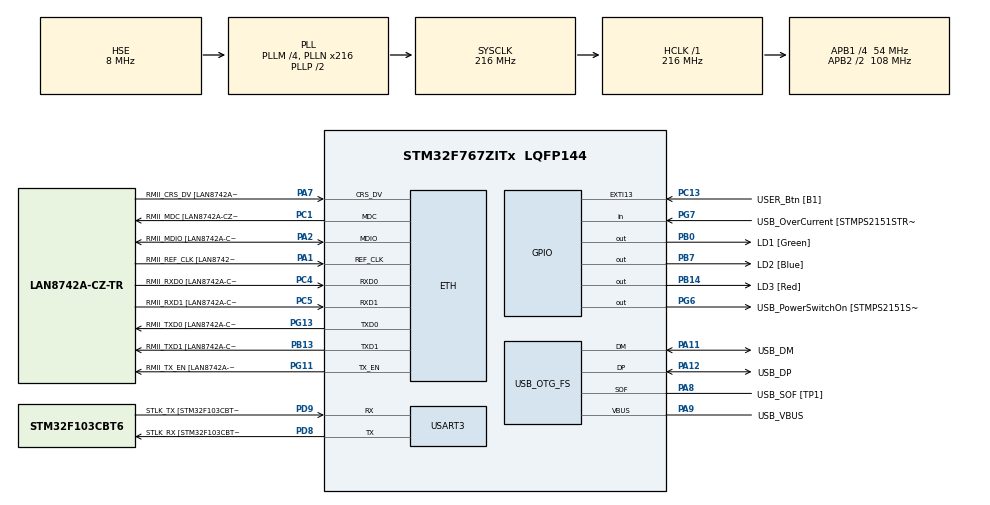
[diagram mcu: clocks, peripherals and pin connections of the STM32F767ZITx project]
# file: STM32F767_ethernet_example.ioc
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ETH.MediaInterface=HAL_ETH_RMII_MODE
ETH.PHY_Name=LAN8742A_PHY_ADDRESS
ETH.PHY_Value=0
ETH.PhyAddress=0
LWIP.BSP.number=1
LWIP.GATEWAY_ADDRESS=192.168.000.001
LWIP.IP_ADDRESS=192.168.000.155
LWIP.LWIP_DHCP=0
LWIP.NETMASK_ADDRESS=255.255.255.000
LWIP.Version=v2.1.2_Cube
LWIP0.BSP.STBoard=false
LWIP0.BSP.api=BSP_COMPONENT_DRIVER
LWIP0.BSP.component=LAN8742
LWIP0.BSP.instance=LAN8742
LWIP0.BSP.name=Driver_PHY
LWIP0.BSP.semaphore=S_LAN8742
LWIP0.BSP.solution=LAN8742
Mcu.Family=STM32F7
Mcu.Name=STM32F767ZITx
Mcu.Package=LQFP144
NVIC.PriorityGroup=NVIC_PRIORITYGROUP_4
NVIC.TIM2_IRQn=true\:0\:0\:false\:false\:true\:true\:true\:true
PA1.GPIO_Label=RMII_REF_CLK [LAN8742A-CZ-TR_REFCLK0]
PA1.Mode=RMII
PA1.Signal=ETH_REF_CLK
PA10.GPIO_Label=USB_ID
PA10.Signal=USB_OTG_FS_ID
PA11.GPIO_Label=USB_DM
PA11.Mode=Device_Only
PA11.Signal=USB_OTG_FS_DM
PA12.GPIO_Label=USB_DP
PA12.Mode=Device_Only
PA12.Signal=USB_OTG_FS_DP
PA13.GPIO_Label=TMS
PA13.Mode=Serial_Wire
PA13.Signal=SYS_JTMS-SWDIO
PA14.GPIO_Label=TCK
PA14.Mode=Serial_Wire
PA14.Signal=SYS_JTCK-SWCLK
PA2.GPIO_Label=RMII_MDIO [LAN8742A-CZ-TR_MDIO]
PA2.Mode=RMII
PA2.Signal=ETH_MDIO
PA7.GPIO_Label=RMII_CRS_DV [LAN8742A-CZ-TR_CRS_DV]
PA7.Mode=RMII
PA7.Signal=ETH_CRS_DV
PA8.GPIO_Label=USB_SOF [TP1]
PA8.Mode=Activate_SOF_FS
PA8.Signal=USB_OTG_FS_SOF
PA9.GPIO_Label=USB_VBUS
PA9.Mode=Activate_VBUS
PA9.Signal=USB_OTG_FS_VBUS
PB0.GPIO_Label=LD1 [Green]
PB0.Signal=GPIO_Output
PB13.GPIO_Label=RMII_TXD1 [LAN8742A-CZ-TR_TXD1]
PB13.Mode=RMII
PB13.Signal=ETH_TXD1
PB14.GPIO_Label=LD3 [Red]
PB14.Signal=GPIO_Output
PB3.GPIO_Label=SWO
PB3.Signal=SYS_JTDO-SWO
PB7.GPIO_Label=LD2 [Blue]
PB7.Signal=GPIO_Output
PC1.GPIO_Label=RMII_MDC [LAN8742A-CZ-TR_MDC]
PC1.Mode=RMII
PC1.Signal=ETH_MDC
PC13.GPIO_Label=USER_Btn [B1]
PC13.Signal=GPXTI13
PC14/OSC32_IN.Mode=LSE-External-Oscillator
PC14/OSC32_IN.Signal=RCC_OSC32_IN
PC15/OSC32_OUT.Mode=LSE-External-Oscillator
PC15/OSC32_OUT.Signal=RCC_OSC32_OUT
PC4.GPIO_Label=RMII_RXD0 [LAN8742A-CZ-TR_RXD0]
PC4.Mode=RMII
PC4.Signal=ETH_RXD0
PC5.GPIO_Label=RMII_RXD1 [LAN8742A-CZ-TR_RXD1]
PC5.Mode=RMII
PC5.Signal=ETH_RXD1
PD8.GPIO_Label=STLK_RX [STM32F103CBT6_PA3]
PD8.Mode=Asynchronous
PD8.Signal=USART3_TX
PD9.GPIO_Label=STLK_TX [STM32F103CBT6_PA2]
PD9.Mode=Asynchronous
PD9.Signal=USART3_RX
PG11.GPIO_Label=RMII_TX_EN [LAN8742A-CZ-TR_TXEN]
PG11.Mode=RMII
PG11.Signal=ETH_TX_EN
PG13.GPIO_Label=RMII_TXD0 [LAN8742A-CZ-TR_TXD0]
PG13.Mode=RMII
PG13.Signal=ETH_TXD0
PG6.GPIO_Label=USB_PowerSwitchOn [STMPS2151STR_EN]
PG6.Signal=GPIO_Output
PG7.GPIO_Label=USB_OverCurrent [STMPS2151STR_FAULT]
PG7.Signal=GPIO_Input
PH0/OSC_IN.GPIO_Label=MCO [STM32F103CBT6_PA8]
PH0/OSC_IN.Mode=HSE-External-Clock-Source
PH0/OSC_IN.Signal=RCC_OSC_IN
PH1/OSC_OUT.Mode=HSE-External-Clock-Source
PH1/OSC_OUT.Signal=RCC_OSC_OUT
ProjectManager.HeapSize=0x200
ProjectManager.StackSize=0x400
ProjectManager.TargetToolchain=STM32CubeIDE
RCC.48MHZClocksFreq_Value=24000000
RCC.AHBFreq_Value=216000000
RCC.APB1CLKDivider=RCC_HCLK_DIV4
RCC.APB1Freq_Value=54000000
RCC.APB1TimFreq_Value=108000000
RCC.APB2CLKDivider=RCC_HCLK_DIV2
RCC.APB2Freq_Value=108000000
RCC.APB2TimFreq_Value=216000000
RCC.CortexFreq_Value=216000000
RCC.HCLKFreq_Value=216000000
RCC.HSE_VALUE=8000000
RCC.HSI_VALUE=16000000
RCC.PLLM=4
RCC.PLLMUL=RCC_PLL_MUL9
RCC.PLLN=216
RCC.PLLQ=9
RCC.PRESCALERUSB=RCC_USBCLKSOURCE_PLL_DIV1_5
RCC.SYSCLKFreq_VALUE=216000000
RCC.SYSCLKSource=RCC_SYSCLKSOURCE_PLLCLK
RCC.SYSCLKSourceVirtual=RCC_SYSCLKSOURCE_PLLCLK
RCC.USBFreq_Value=48000000
RCC.VCOOutputFreq_Value=432000000
TIM2.Period=10000-1
TIM2.Prescaler=10400-1
USART3.VirtualMode-Asynchronous=VM_ASYNC
USB_OTG_FS.VirtualMode=Device_Only
VP_LWIP_VS_Enabled.Mode=Enabled
VP_TIM2_VS_ClockSourceINT.Mode=Internal
board=NUCLEO-F767ZI

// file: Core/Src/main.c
/* USER CODE BEGIN Header */
/**
  ******************************************************************************
  * @file           : main.c
  * @brief          : Main program body
  ******************************************************************************
  * @attention
  *
  * Copyright (c) 2024 STMicroelectronics.
  * All rights reserved.
  *
  * This software is licensed under terms that can be found in the LICENSE file
  * in the root directory of this software component.
  * If no LICENSE file comes with this software, it is provided AS-IS.
  *
  ******************************************************************************
  */
/* USER CODE END Header */
#include "main.h"
#include "lwip.h"

/* USER CODE BEGIN Includes */
//#define udpServerRAW
//#define udp_echo_server
//#define tcp_echo_server
//#define tcp_client_raw
#define udp_client_raw

#if defined udpServerRAW
#include "udpServerRAW.h"
#elif defined udp_echo_server
#include "udp_echoserver.h"
#elif defined tcp_echo_server
#include "tcp_echoserver.h"
#elif defined tcp_client_raw
#include "tcpClientRAW.h"
#elif defined udp_client_raw
#include "udpClientRAW.h"
#endif
/* USER CODE END Includes */

TIM_HandleTypeDef htim2;

UART_HandleTypeDef huart3;

PCD_HandleTypeDef hpcd_USB_OTG_FS;

/* USER CODE BEGIN PV */
extern struct netif gnetif;
/* USER CODE END PV */

void SystemClock_Config(void);
static void MX_GPIO_Init(void);
static void MX_USART3_UART_Init(void);
static void MX_USB_OTG_FS_PCD_Init(void);
static void MX_TIM2_Init(void);

/* USER CODE BEGIN 0 */
#ifdef __GNUC__
  /* With GCC, small printf (option LD Linker->Libraries->Small printf
     set to 'Yes') calls __io_putchar() */
  #define PUTCHAR_PROTOTYPE int __io_putchar(int ch)
#else
  #define PUTCHAR_PROTOTYPE int fputc(int ch, FILE *f)
#endif /* __GNUC__ */
PUTCHAR_PROTOTYPE
{
  /* Place your implementation of fputc here */
  /* e.g. write a character to the EVAL_COM1 and Loop until the end of transmission */
  HAL_UART_Transmit(&huart3, (uint8_t *)&ch, 1, 0xFFFF);

  return ch;
}
/* USER CODE END 0 */

int main(void)
{

  /* MCU Configuration--------------------------------------------------------*/

  /* Reset of all peripherals, Initializes the Flash interface and the Systick. */
  HAL_Init();

  /* Configure the system clock */
  SystemClock_Config();

  /* Initialize all configured peripherals */
  MX_GPIO_Init();
  MX_USART3_UART_Init();
  MX_USB_OTG_FS_PCD_Init();
  MX_LWIP_Init();
  MX_TIM2_Init();
  /* USER CODE BEGIN 2 */
#if defined udpServerRAW
  udpServer_init();
#elif defined udp_echo_server
  udp_echoserver_init();
#elif defined tcp_echo_server
  tcp_echoserver_init();
#elif defined tcp_client_raw
  HAL_TIM_Base_Start_IT(&htim2);
  tcp_client_init();
#elif defined udp_client_raw
  HAL_TIM_Base_Start_IT(&htim2);
  udpClient_connect();
#endif
  /* USER CODE END 2 */

  /* Infinite loop */
  /* USER CODE BEGIN WHILE */
  while (1)
  {
	  MX_LWIP_Process();

    /* USER CODE END WHILE */

  }
}

void SystemClock_Config(void)
{
  RCC_OscInitTypeDef RCC_OscInitStruct = {0};
  RCC_ClkInitTypeDef RCC_ClkInitStruct = {0};

  /** Configure LSE Drive Capability
  */
  HAL_PWR_EnableBkUpAccess();

  /** Configure the main internal regulator output voltage
  */
  __HAL_RCC_PWR_CLK_ENABLE();
  __HAL_PWR_VOLTAGESCALING_CONFIG(PWR_REGULATOR_VOLTAGE_SCALE1);

  /** Initializes the RCC Oscillators according to the specified parameters
  * in the RCC_OscInitTypeDef structure.
  */
  RCC_OscInitStruct.OscillatorType = RCC_OSCILLATORTYPE_HSE;
  RCC_OscInitStruct.HSEState = RCC_HSE_BYPASS;
  RCC_OscInitStruct.PLL.PLLState = RCC_PLL_ON;
  RCC_OscInitStruct.PLL.PLLSource = RCC_PLLSOURCE_HSE;
  RCC_OscInitStruct.PLL.PLLM = 4;
  RCC_OscInitStruct.PLL.PLLN = 216;
  RCC_OscInitStruct.PLL.PLLP = RCC_PLLP_DIV2;
  RCC_OscInitStruct.PLL.PLLQ = 9;
  RCC_OscInitStruct.PLL.PLLR = 2;
  if (HAL_RCC_OscConfig(&RCC_OscInitStruct) != HAL_OK)
  {
    Error_Handler();
  }

  /** Activate the Over-Drive mode
  */
  if (HAL_PWREx_EnableOverDrive() != HAL_OK)
  {
    Error_Handler();
  }

  /** Initializes the CPU, AHB and APB buses clocks
  */
  RCC_ClkInitStruct.ClockType = RCC_CLOCKTYPE_HCLK|RCC_CLOCKTYPE_SYSCLK
                              |RCC_CLOCKTYPE_PCLK1|RCC_CLOCKTYPE_PCLK2;
  RCC_ClkInitStruct.SYSCLKSource = RCC_SYSCLKSOURCE_PLLCLK;
  RCC_ClkInitStruct.AHBCLKDivider = RCC_SYSCLK_DIV1;
  RCC_ClkInitStruct.APB1CLKDivider = RCC_HCLK_DIV4;
  RCC_ClkInitStruct.APB2CLKDivider = RCC_HCLK_DIV2;

  if (HAL_RCC_ClockConfig(&RCC_ClkInitStruct, FLASH_LATENCY_7) != HAL_OK)
  {
    Error_Handler();
  }
}

static void MX_TIM2_Init(void)
{

  TIM_ClockConfigTypeDef sClockSourceConfig = {0};
  TIM_MasterConfigTypeDef sMasterConfig = {0};

  htim2.Instance = TIM2;
  htim2.Init.Prescaler = 10400-1;
  htim2.Init.CounterMode = TIM_COUNTERMODE_UP;
  htim2.Init.Period = 10000-1;
  htim2.Init.ClockDivision = TIM_CLOCKDIVISION_DIV1;
  htim2.Init.AutoReloadPreload = TIM_AUTORELOAD_PRELOAD_DISABLE;
  if (HAL_TIM_Base_Init(&htim2) != HAL_OK)
  {
    Error_Handler();
  }
  sClockSourceConfig.ClockSource = TIM_CLOCKSOURCE_INTERNAL;
  if (HAL_TIM_ConfigClockSource(&htim2, &sClockSourceConfig) != HAL_OK)
  {
    Error_Handler();
  }
  sMasterConfig.MasterOutputTrigger = TIM_TRGO_RESET;
  sMasterConfig.MasterSlaveMode = TIM_MASTERSLAVEMODE_DISABLE;
  if (HAL_TIMEx_MasterConfigSynchronization(&htim2, &sMasterConfig) != HAL_OK)
  {
    Error_Handler();
  }

}

static void MX_USART3_UART_Init(void)
{

  huart3.Instance = USART3;
  huart3.Init.BaudRate = 115200;
  huart3.Init.WordLength = UART_WORDLENGTH_8B;
  huart3.Init.StopBits = UART_STOPBITS_1;
  huart3.Init.Parity = UART_PARITY_NONE;
  huart3.Init.Mode = UART_MODE_TX_RX;
  huart3.Init.HwFlowCtl = UART_HWCONTROL_NONE;
  huart3.Init.OverSampling = UART_OVERSAMPLING_16;
  huart3.Init.OneBitSampling = UART_ONE_BIT_SAMPLE_DISABLE;
  huart3.AdvancedInit.AdvFeatureInit = UART_ADVFEATURE_NO_INIT;
  if (HAL_UART_Init(&huart3) != HAL_OK)
  {
    Error_Handler();
  }

}

static void MX_USB_OTG_FS_PCD_Init(void)
{

  hpcd_USB_OTG_FS.Instance = USB_OTG_FS;
  hpcd_USB_OTG_FS.Init.dev_endpoints = 6;
  hpcd_USB_OTG_FS.Init.speed = PCD_SPEED_FULL;
  hpcd_USB_OTG_FS.Init.dma_enable = DISABLE;
  hpcd_USB_OTG_FS.Init.phy_itface = PCD_PHY_EMBEDDED;
  hpcd_USB_OTG_FS.Init.Sof_enable = ENABLE;
  hpcd_USB_OTG_FS.Init.low_power_enable = DISABLE;
  hpcd_USB_OTG_FS.Init.lpm_enable = DISABLE;
  hpcd_USB_OTG_FS.Init.vbus_sensing_enable = ENABLE;
  hpcd_USB_OTG_FS.Init.use_dedicated_ep1 = DISABLE;
  if (HAL_PCD_Init(&hpcd_USB_OTG_FS) != HAL_OK)
  {
    Error_Handler();
  }

}

static void MX_GPIO_Init(void)
{
  GPIO_InitTypeDef GPIO_InitStruct = {0};

  /* GPIO Ports Clock Enable */
  __HAL_RCC_GPIOC_CLK_ENABLE();
  __HAL_RCC_GPIOH_CLK_ENABLE();
  __HAL_RCC_GPIOA_CLK_ENABLE();
  __HAL_RCC_GPIOB_CLK_ENABLE();
  __HAL_RCC_GPIOD_CLK_ENABLE();
  __HAL_RCC_GPIOG_CLK_ENABLE();

  /*Configure GPIO pin Output Level */
  HAL_GPIO_WritePin(GPIOB, LD1_Pin|LD3_Pin|LD2_Pin, GPIO_PIN_RESET);

  /*Configure GPIO pin Output Level */
  HAL_GPIO_WritePin(USB_PowerSwitchOn_GPIO_Port, USB_PowerSwitchOn_Pin, GPIO_PIN_RESET);

  /*Configure GPIO pin : USER_Btn_Pin */
  GPIO_InitStruct.Pin = USER_Btn_Pin;
  GPIO_InitStruct.Mode = GPIO_MODE_IT_RISING;
  GPIO_InitStruct.Pull = GPIO_NOPULL;
  HAL_GPIO_Init(USER_Btn_GPIO_Port, &GPIO_InitStruct);

  /*Configure GPIO pins : LD1_Pin LD3_Pin LD2_Pin */
  GPIO_InitStruct.Pin = LD1_Pin|LD3_Pin|LD2_Pin;
  GPIO_InitStruct.Mode = GPIO_MODE_OUTPUT_PP;
  GPIO_InitStruct.Pull = GPIO_NOPULL;
  GPIO_InitStruct.Speed = GPIO_SPEED_FREQ_LOW;
  HAL_GPIO_Init(GPIOB, &GPIO_InitStruct);

  /*Configure GPIO pin : USB_PowerSwitchOn_Pin */
  GPIO_InitStruct.Pin = USB_PowerSwitchOn_Pin;
  GPIO_InitStruct.Mode = GPIO_MODE_OUTPUT_PP;
  GPIO_InitStruct.Pull = GPIO_NOPULL;
  GPIO_InitStruct.Speed = GPIO_SPEED_FREQ_LOW;
  HAL_GPIO_Init(USB_PowerSwitchOn_GPIO_Port, &GPIO_InitStruct);

  /*Configure GPIO pin : USB_OverCurrent_Pin */
  GPIO_InitStruct.Pin = USB_OverCurrent_Pin;
  GPIO_InitStruct.Mode = GPIO_MODE_INPUT;
  GPIO_InitStruct.Pull = GPIO_NOPULL;
  HAL_GPIO_Init(USB_OverCurrent_GPIO_Port, &GPIO_InitStruct);

}

void Error_Handler(void)
{
  __disable_irq();
  while (1)
  {
  }
}
